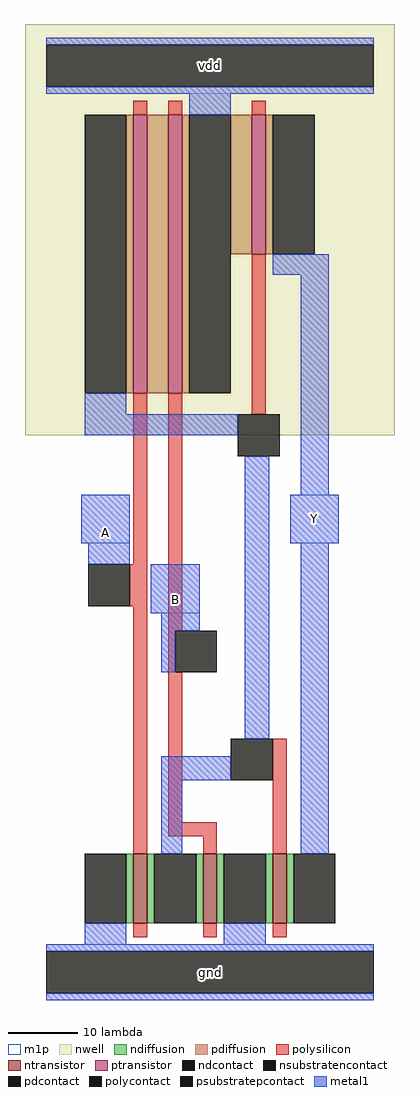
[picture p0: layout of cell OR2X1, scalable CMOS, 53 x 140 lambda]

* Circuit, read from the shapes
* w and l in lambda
.subckt OR2X1 A B Y vdd gnd
M1 n1 A gnd gnd nfet w=10 l=2
M2 gnd B n1 gnd nfet w=10 l=2
M3 Y n1 gnd gnd nfet w=10 l=2
M4 n2 A n1 vdd pfet w=40 l=2
M5 vdd B n2 vdd pfet w=40 l=2
M6 Y n1 vdd vdd pfet w=20 l=2
.ends

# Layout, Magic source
magic
tech scmos
magscale 1 2
<< nwell >>
rect -13 154 93 272
<< ntransistor >>
rect 18 14 22 34
rect 38 14 42 34
rect 58 14 62 34
<< ptransistor >>
rect 18 166 22 246
rect 28 166 32 246
rect 52 206 56 246
<< ndiffusion >>
rect 16 14 18 34
rect 22 14 24 34
rect 36 14 38 34
rect 42 14 44 34
rect 56 14 58 34
rect 62 14 64 34
<< pdiffusion >>
rect 16 166 18 246
rect 22 166 28 246
rect 32 166 34 246
rect 46 206 52 246
rect 56 206 58 246
<< ndcontact >>
rect 4 14 16 34
rect 24 14 36 34
rect 44 14 56 34
rect 64 14 76 34
<< pdcontact >>
rect 4 166 16 246
rect 34 166 46 246
rect 58 206 70 246
<< psubstratepcontact >>
rect -7 -6 87 6
<< nsubstratencontact >>
rect -7 254 87 266
<< polysilicon >>
rect 18 246 22 250
rect 28 246 32 250
rect 52 246 56 250
rect 18 117 22 166
rect 17 105 22 117
rect 18 34 22 105
rect 28 98 32 166
rect 52 160 56 206
rect 28 86 30 98
rect 28 43 32 86
rect 28 39 42 43
rect 38 34 42 39
rect 58 34 62 67
rect 18 10 22 14
rect 38 10 42 14
rect 58 10 62 14
<< polycontact >>
rect 5 105 17 117
rect 48 148 60 160
rect 30 86 42 98
rect 46 55 58 67
<< metal1 >>
rect -7 266 87 268
rect -7 252 87 254
rect 34 246 46 252
rect 58 200 74 206
rect 4 160 16 166
rect 4 154 48 160
rect 3 123 17 137
rect 5 117 17 123
rect 23 103 37 117
rect 26 98 37 103
rect 26 86 30 98
rect 50 67 57 148
rect 66 137 74 200
rect 63 123 77 137
rect 26 55 46 62
rect 26 34 32 55
rect 66 34 74 123
rect 4 8 16 14
rect 44 8 56 14
rect -7 6 87 8
rect -7 -8 87 -6
<< m1p >>
rect -7 252 87 268
rect 3 123 17 137
rect 63 123 77 137
rect 23 103 37 117
rect -7 -8 87 8
<< labels >>
rlabel nsubstratencontact 40 260 40 260 0 vdd
port 4 nsew power bidirectional abutment
rlabel psubstratepcontact 40 0 40 0 0 gnd
port 5 nsew ground bidirectional abutment
rlabel metal1 10 126 10 126 0 A
port 1 nsew signal input
rlabel metal1 70 130 70 130 0 Y
port 3 nsew signal output
rlabel metal1 30 107 30 107 0 B
port 2 nsew signal input
<< properties >>
string FIXED_BBOX 0 0 80 260
string LEFclass CORE
string LEFsite core
string LEFsymmetry X Y
<< end >>
